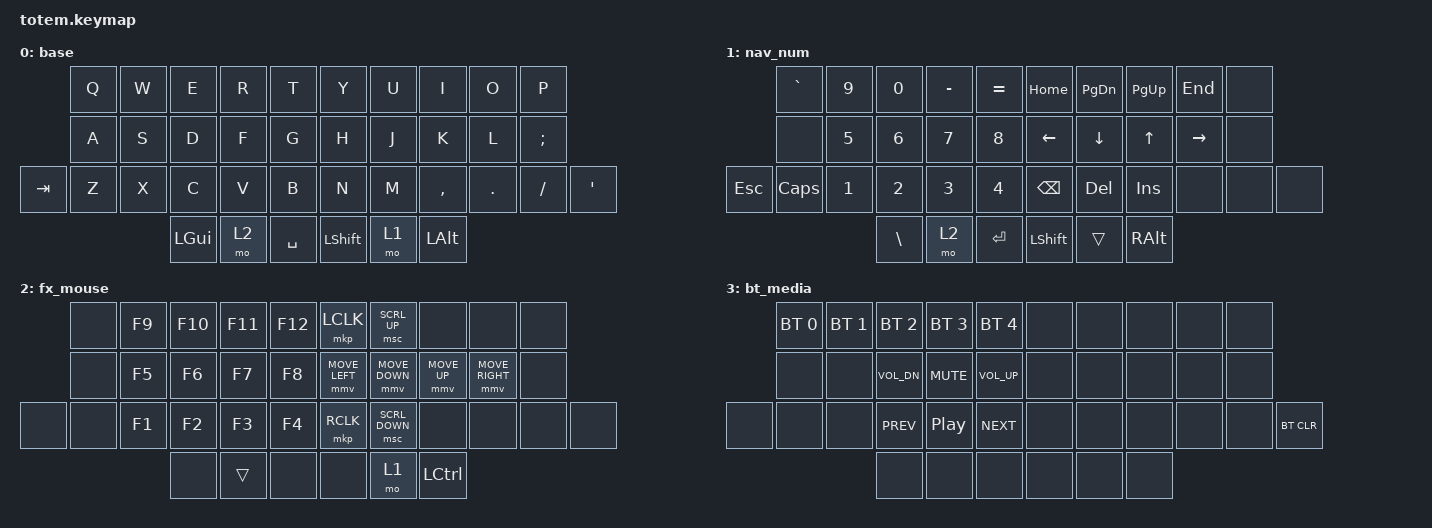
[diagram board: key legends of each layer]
#include <behaviors.dtsi>
#include <dt-bindings/zmk/bt.h>
#include <dt-bindings/zmk/keys.h>
#include <dt-bindings/zmk/pointing.h>

/ {
    combos {
        compatible = "zmk,combos";

        l_bkt {
            bindings = <&kp LBKT>;
            key-positions = <4 3>;
        };

        r_bkt {
            bindings = <&kp RBKT>;
            key-positions = <5 6>;
        };

        l_par {
            bindings = <&kp LPAR>;
            key-positions = <13 14>;
        };

        r_par {
            bindings = <&kp RPAR>;
            key-positions = <15 16>;
        };

        l_brc {
            bindings = <&kp LBRC>;
            key-positions = <25 24>;
        };

        r_brc {
            bindings = <&kp RBRC>;
            key-positions = <26 27>;
        };

        l_ctrl {
            bindings = <&kp LCTRL>;
            key-positions = <28 29>;
        };
    };

    keymap {
        compatible = "zmk,keymap";

        base {
            bindings = <
         &kp Q  &kp W  &kp E     &kp R  &kp T        &kp Y       &kp U  &kp I      &kp O    &kp P
         &kp A  &kp S  &kp D     &kp F  &kp G        &kp H       &kp J  &kp K      &kp L    &kp SEMI
&kp TAB  &kp Z  &kp X  &kp C     &kp V  &kp B        &kp N       &kp M  &kp COMMA  &kp DOT  &kp FSLH  &kp APOS
                       &kp LGUI  &mo 2  &kp SPACE    &kp LSHIFT  &mo 1  &kp LALT
            >;
        };

        nav_num {
            bindings = <
         &kp GRAVE  &kp N9        &kp N0    &kp MINUS     &kp EQUAL    &kp HOME        &kp PAGE_DOWN   &kp PAGE_UP   &kp END          &none
         &none      &kp N5        &kp N6    &kp N7        &kp N8       &kp LEFT_ARROW  &kp DOWN_ARROW  &kp UP_ARROW  &kp RIGHT_ARROW  &none
&kp ESC  &kp CLCK   &kp NUMBER_1  &kp N2    &kp NUMBER_3  &kp N4       &kp BACKSPACE   &kp DELETE      &kp INSERT    &none            &none  &none
                                  &kp BSLH  &mo 2         &kp ENTER    &kp LSHFT       &trans          &kp RALT
            >;
        };

        fx_mouse {
            bindings = <
       &none  &kp F9  &kp F10  &kp F11  &kp F12    &mkp LCLK       &msc SCRL_UP    &none         &none            &none
       &none  &kp F5  &kp F6   &kp F7   &kp F8     &mmv MOVE_LEFT  &mmv MOVE_DOWN  &mmv MOVE_UP  &mmv MOVE_RIGHT  &none
&none  &none  &kp F1  &kp F2   &kp F3   &kp F4     &mkp RCLK       &msc SCRL_DOWN  &none         &none            &none  &none
                      &none    &trans   &none      &none           &mo 1           &kp LCTRL
            >;
        };

        bt_media {
            bindings = <
       &bt BT_SEL 0  &bt BT_SEL 1  &bt BT_SEL 2  &bt BT_SEL 3      &bt BT_SEL 4    &none  &none  &none  &none  &none
       &none         &none         &kp C_VOL_DN  &kp C_MUTE        &kp C_VOL_UP    &none  &none  &none  &none  &none
&none  &none         &none         &kp C_PREV    &kp C_PLAY_PAUSE  &kp C_NEXT      &none  &none  &none  &none  &none  &bt BT_CLR
                                   &none         &none             &none           &none  &none  &none
            >;
        };

        extra1 { status = "reserved"; };

        extra2 { status = "reserved"; };

        extra3 { status = "reserved"; };
    };

    conditional_layers {
        compatible = "zmk,conditional-layers";

        bt_media {
            if-layers = <1 2>;
            then-layer = <3>;
        };
    };
};
